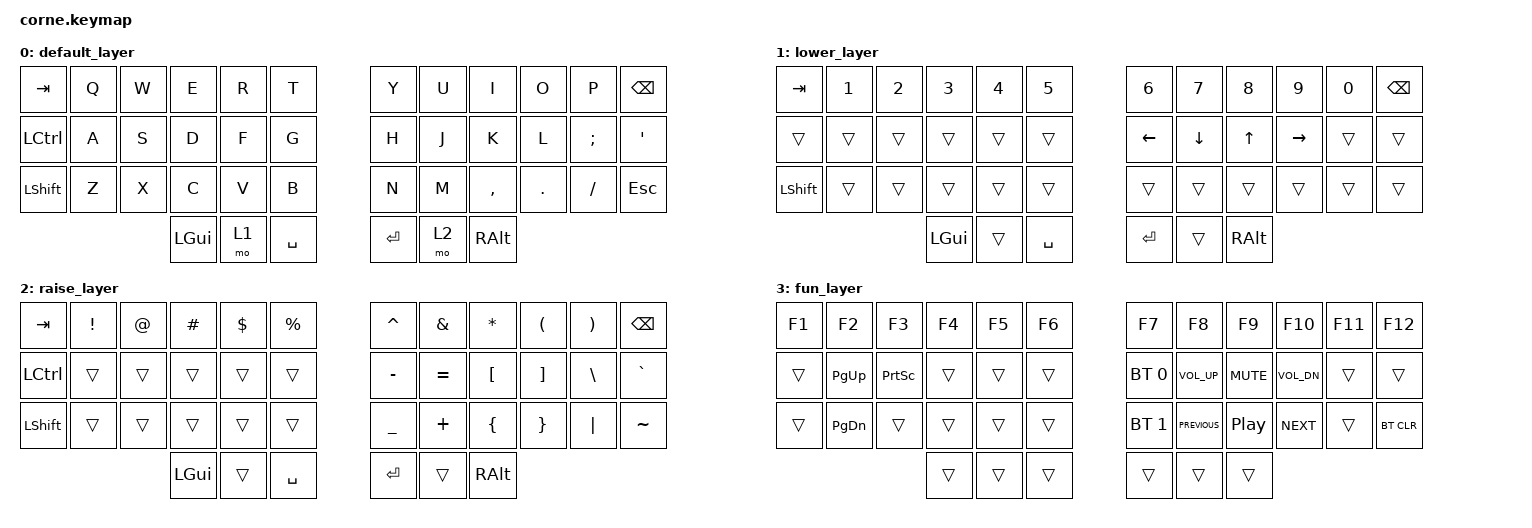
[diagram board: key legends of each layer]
/*
 * Copyright (c) 2020 The ZMK Contributors
 *
 * SPDX-License-Identifier: MIT
 */

#include <behaviors.dtsi>
#include <dt-bindings/zmk/bt.h>
#include <dt-bindings/zmk/keys.h>

/ {
    keymap {
        compatible = "zmk,keymap";

        default_layer {
            bindings = <
&kp TAB    &kp Q  &kp W  &kp E     &kp R  &kp T        &kp Y    &kp U  &kp I      &kp O    &kp P     &kp BSPC
&kp LCTRL  &kp A  &kp S  &kp D     &kp F  &kp G        &kp H    &kp J  &kp K      &kp L    &kp SEMI  &kp SQT
&kp LSHFT  &kp Z  &kp X  &kp C     &kp V  &kp B        &kp N    &kp M  &kp COMMA  &kp DOT  &kp FSLH  &kp ESC
                         &kp LGUI  &mo 1  &kp SPACE    &kp RET  &mo 2  &kp RALT
            >;
        };

        lower_layer {
            bindings = <
&kp TAB    &kp N1  &kp N2  &kp N3    &kp N4  &kp N5       &kp N6    &kp N7    &kp N8    &kp N9     &kp N0  &kp BSPC
&trans     &trans  &trans  &trans    &trans  &trans       &kp LEFT  &kp DOWN  &kp UP    &kp RIGHT  &trans  &trans
&kp LSHFT  &trans  &trans  &trans    &trans  &trans       &trans    &trans    &trans    &trans     &trans  &trans
                           &kp LGUI  &trans  &kp SPACE    &kp RET   &trans    &kp RALT
            >;
        };

        raise_layer {
            bindings = <
&kp TAB    &kp EXCL  &kp AT  &kp HASH  &kp DLLR  &kp PRCNT    &kp CARET  &kp AMPS   &kp ASTRK  &kp LPAR  &kp RPAR  &kp BSPC
&kp LCTRL  &trans    &trans  &trans    &trans    &trans       &kp MINUS  &kp EQUAL  &kp LBKT   &kp RBKT  &kp BSLH  &kp GRAVE
&kp LSHFT  &trans    &trans  &trans    &trans    &trans       &kp UNDER  &kp PLUS   &kp LBRC   &kp RBRC  &kp PIPE  &kp TILDE
                             &kp LGUI  &trans    &kp SPACE    &kp RET    &trans     &kp RALT
            >;
        };

        fun_layer {
            bindings = <
&kp F1  &kp F2         &kp F3           &kp F4  &kp F5  &kp F6    &kp F7        &kp F8           &kp F9            &kp F10       &kp F11  &kp F12
&trans  &kp PAGE_UP    &kp PRINTSCREEN  &trans  &trans  &trans    &bt BT_SEL 0  &kp C_VOLUME_UP  &kp C_MUTE        &kp C_VOL_DN  &trans   &trans
&trans  &kp PAGE_DOWN  &trans           &trans  &trans  &trans    &bt BT_SEL 1  &kp C_PREVIOUS   &kp C_PLAY_PAUSE  &kp C_NEXT    &trans   &bt BT_CLR
                                        &trans  &trans  &trans    &trans        &trans           &trans
            >;
        };
    };

    conditional_layers {
        compatible = "zmk,conditional-layers";

        fun_layer {
            if-layers = <1 2>;
            then-layer = <3>;
        };
    };
};
